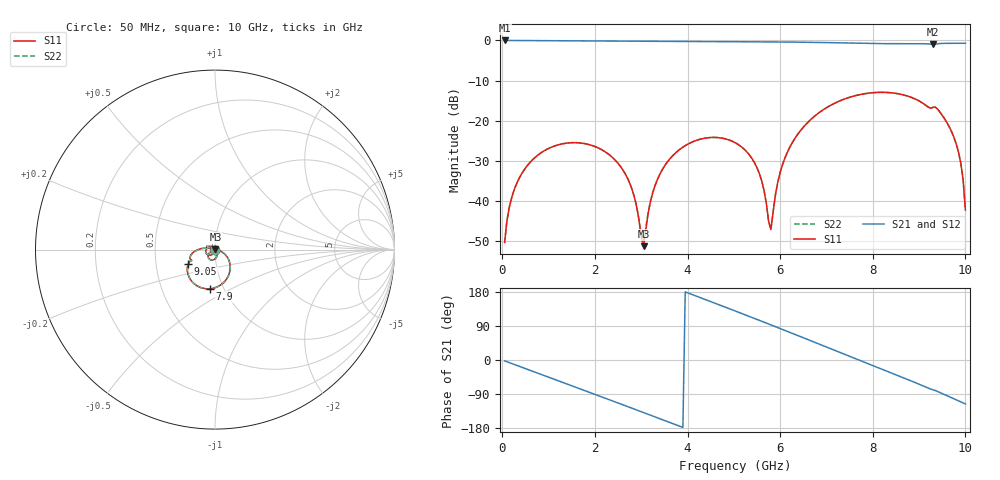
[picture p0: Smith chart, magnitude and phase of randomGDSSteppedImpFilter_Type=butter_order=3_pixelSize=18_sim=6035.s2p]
! freq	dB(S11)	phase(S11)	dB(S12)	phase(S12)
!  dB(S21)	phase(S21)	dB(S22)	phase(S22)
!S-par simulation data
#  GHz  S  DB  R 50
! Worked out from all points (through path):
!   200 points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, 50 MHz to 10 GHz, reference 50 ohm
!   highest |S21| = 0.00 dB at 50 MHz (marker M1); lowest = -1.0 dB at 9.3 GHz (marker M2)
!   group delay of S21, straight-line fit = 132 ps
!   lowest |S11| = -51.3 dB at 3.05 GHz (marker M3), VSWR 1.01, Z = 50.2 + j0.131 ohm
!   |S11| at or under -10 dB: start of sweep to end of sweep
!   |S22| runs from -50.5 to -12.9 dB; largest |S21 - S12| = 0
!   S11 on the Smith chart (normalised r, x): 50 MHz: 1.00, -0.01; 7.9 GHz: 0.86, -0.39; 9.05 GHz: 0.73, -0.12; 10 GHz: 0.98, +0.00
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0.05  -50.35 -83.2  -0.00 -2.3  -0.00 -2.3  -50.47 -87.0
0.2  -39.28 -97.8  -0.02 -9.1  -0.02 -9.1  -39.28 -97.9
0.55  -31.04 -115.6  -0.04 -25.0  -0.04 -25.0  -31.04 -115.7
1.75  -25.64 -171.5  -0.10 -79.3  -0.10 -79.3  -25.64 -171.7
2.65  -33.14 143.4  -0.14 -120.3  -0.14 -120.3  -33.13 142.3
2.85  -38.95 127.7  -0.15 -129.5  -0.15 -129.5  -38.88 125.5
3.05  -51.25 28.5  -0.17 -138.7  -0.17 -138.7  -49.89 30.1
3.2  -40.13 -40.0  -0.18 -145.6  -0.18 -145.6  -39.98 -37.3
3.4  -33.39 -57.5  -0.19 -154.8  -0.19 -154.8  -33.35 -56.1
4.15  -25.07 -96.0  -0.26 170.5  -0.26 170.5  -25.06 -95.5
5.05  -25.61 -136.8  -0.33 128.4  -0.33 128.4  -25.61 -136.5
5.55  -33.15 -153.8  -0.35 104.7  -0.35 104.7  -33.14 -153.6
5.8  -47.10 -71.7  -0.37 92.7  -0.37 92.7  -47.21 -71.9
6.1  -29.39 -17.5  -0.39 78.2  -0.39 78.2  -29.39 -17.1
6.7  -19.30 -41.4  -0.47 49.0  -0.47 49.0  -19.30 -41.1
7.9  -13.15 -97.7  -0.75 -9.6  -0.75 -9.6  -13.15 -97.5
8.35  -12.99 -119.0  -0.81 -31.4  -0.81 -31.4  -12.99 -118.7
9.05  -15.41 -151.6  -0.81 -66.4  -0.81 -66.4  -15.41 -151.2
9.3  -16.68 -155.9  -0.98 -78.7  -0.98 -78.7  -16.68 -155.5
9.8  -25.72 170.5  -0.71 -104.9  -0.71 -104.9  -25.72 171.5
9.95  -34.58 167.4  -0.71 -113.1  -0.71 -113.1  -34.56 170.2
10  -42.27 175.3  -0.71 -115.9  -0.71 -115.9  -41.99 -177.8
